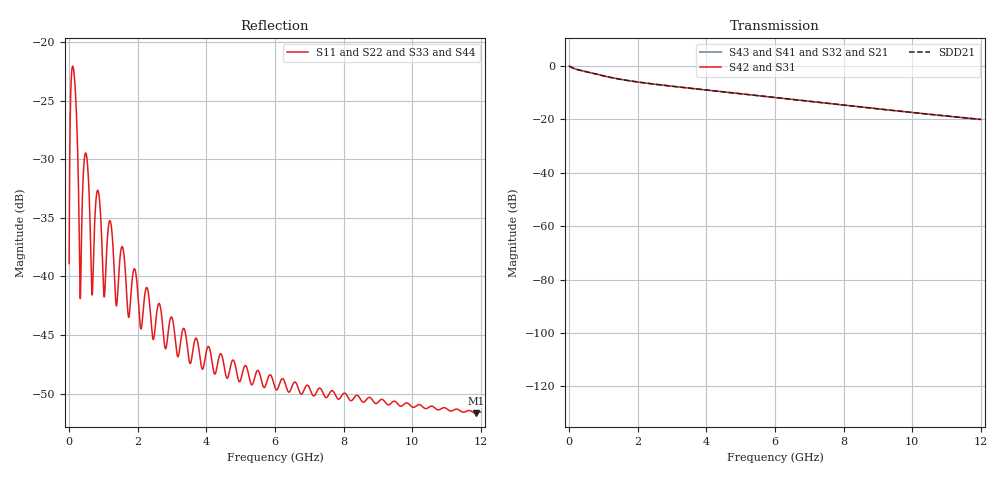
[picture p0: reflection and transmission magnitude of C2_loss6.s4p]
! SYNTHETIC PCB; not extracted/measured; no fixture or crosstalk.
! Port 1=TX+, 2=TX-, 3=RX+, 4=RX-. Differential reference 100 ohm.
# Hz S RI R 50
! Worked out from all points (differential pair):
!   2400 points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, 5 MHz to 12 GHz, reference 50 ohm
!   strongest paths, dB at 5 MHz, 3.005 GHz, 6.005 GHz, 9.005 GHz, 12 GHz:
!     S42: -0.1, -7.6, -11.8, -16.1, -20.0
!     S31: -0.1, -7.6, -11.8, -16.1, -20.0
!     S43: -, -, -, -, -
!     S41: -, -, -, -, -
!     S32: -, -, -, -, -
!     S21: -, -, -, -, -
!   taken as a pair (ports 2,1 in; 4,3 out), SDD21 dB: -0.1, -7.6, -11.8, -16.1, -20.0
!   lowest |S11| = -51.7 dB at 11.86 GHz (marker M1), VSWR 1.01, Z = 49.8 - j0.104 ohm
!   |S11| at or under -10 dB: start of sweep to end of sweep
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5000000  0.00955 0.00612  0 0  0.9893 -0.0532  0 0
         0 0  0.00955 0.00612  0 0  0.9893 -0.0532
         0.9893 -0.0532  0 0  0.00955 0.00612  0 0
         0 0  0.9893 -0.0532  0 0  0.00955 0.00612
3.25e8  0.00343 -0.00765  0 0  -0.8295 -0.0462  0 0
        0 0  0.00343 -0.00765  0 0  -0.8295 -0.0462
        -0.8295 -0.0462  0 0  0.00343 -0.00765  0 0
        0 0  -0.8295 -0.0462  0 0  0.00343 -0.00765
6.7e8  0.00324 -0.00782  0 0  0.7313 0.042  0 0
       0 0  0.00324 -0.00782  0 0  0.7313 0.042
       0.7313 0.042  0 0  0.00324 -0.00782  0 0
       0 0  0.7313 0.042  0 0  0.00324 -0.00782
1.02e9  0.00217 -0.00798  0 0  -0.6461 -0.042  0 0
        0 0  0.00217 -0.00798  0 0  -0.6461 -0.042
        -0.6461 -0.042  0 0  0.00217 -0.00798  0 0
        0 0  -0.6461 -0.042  0 0  0.00217 -0.00798
1.38e9  0.00146 -0.00735  0 0  0.5808 0.0104  0 0
        0 0  0.00146 -0.00735  0 0  0.5808 0.0104
        0.5808 0.0104  0 0  0.00146 -0.00735  0 0
        0 0  0.5808 0.0104  0 0  0.00146 -0.00735
1.1855e10  -0.00239 -0.00104  0 0  -0.1015 0.00785  0 0
           0 0  -0.00239 -0.00104  0 0  -0.1015 0.00785
           -0.1015 0.00785  0 0  -0.00239 -0.00104  0 0
           0 0  -0.1015 0.00785  0 0  -0.00239 -0.00104
1.2e10  -0.00244 -0.00103  0 0  -0.024 0.0967  0 0
        0 0  -0.00244 -0.00103  0 0  -0.024 0.0967
        -0.024 0.0967  0 0  -0.00244 -0.00103  0 0
        0 0  -0.024 0.0967  0 0  -0.00244 -0.00103
